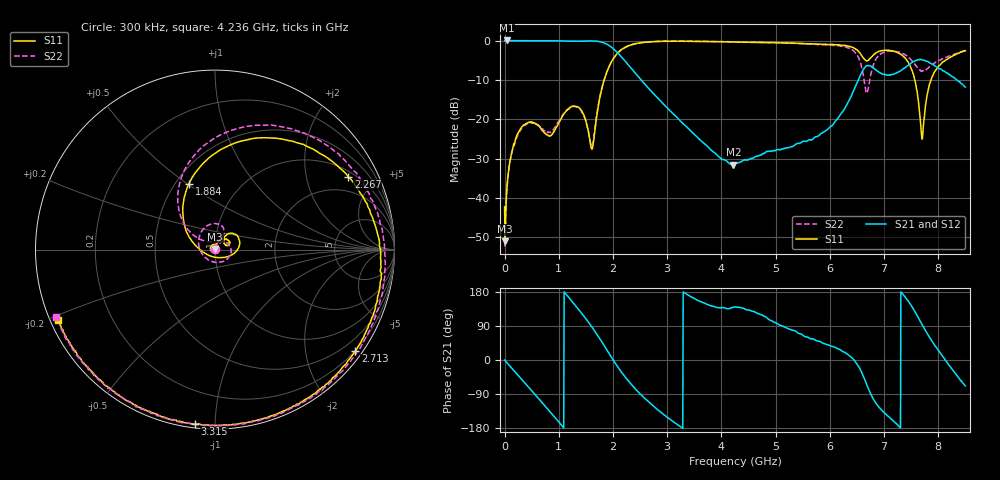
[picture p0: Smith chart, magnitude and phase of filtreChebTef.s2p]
# Hz S RI R 50
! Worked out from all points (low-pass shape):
!   1201 points, 300 kHz to 8.5 GHz, reference 50 ohm
!   highest |S21| = 0.01 dB at 42.8 MHz (marker M1); lowest = -31.5 dB at 4.222 GHz (marker M2)
!   |S21| within 3 dB of the highest: start of sweep to 2.076 GHz
!   lowest |S11| = -51.0 dB at 7.383 MHz (marker M3), VSWR 1.01, Z = 50 + j0.28 ohm
!   |S11| at or under -10 dB: start of sweep to 1.837 GHz; 7.565 GHz to 7.867 GHz (301.7 MHz wide, 3.91 % of centre)
!   |S22| runs from -52.3 to -0.1 dB; largest |S21 - S12| = 0.0083
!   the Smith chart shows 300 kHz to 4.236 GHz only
!   S11 on the Smith chart (normalised r, x): 300 kHz: 0.99, +0.01; 1.884 GHz: 0.58, +0.51; 2.267 GHz: 1.23, +3.51; 2.713 GHz: 0.18, -3.08; 3.315 GHz: 0.02, -0.89; 4.236 GHz: 0.02, -0.22
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300000  -0.0044 0.00635  0.9992 -0.00445  0.9988 -0.00493  0.000475 0.0028
7383083  0.000109 0.0028  1 -0.0209  1.001 -0.0212  0.000571 0.00237
4.27985e7  0.00157 0.0133  0.9941 -0.1234  0.9902 -0.1227  0.00154 0.0129
2.411248e8  0.0331 0.0557  0.7699 -0.631  0.772 -0.6276  0.0455 0.0414
6.377775e8  0.0776 0.0254  -0.2275 -0.9652  -0.2287 -0.9631  0.0551 -0.0604
1.048596e9  0.0642 0.0815  -0.9795 -0.1423  -0.9774 -0.1426  -0.0897 0.0573
1.416917e9  0.1284 0.00657  -0.5535 0.8135  -0.5532 0.8129  0.0486 0.1172
1.615243e9  -0.0162 -0.0385  0.064 0.9841  0.0638 0.9847  -0.0138 0.0434
1.8844e9  -0.1447 0.3682  0.8009 0.4072  0.7997 0.4114  -0.2031 0.34
2.266887e9  0.7423 0.4059  0.3072 -0.3996  0.308 -0.4008  0.599 0.5979
2.713121e9  0.7827 -0.5654  -0.1048 -0.1983  -0.1041 -0.1982  0.9077 -0.335
2.840616e9  0.6168 -0.7517  -0.1236 -0.1317  -0.123 -0.132  0.789 -0.5755
3.315183e9  -0.1111 -0.973  -0.0848 0.00342  -0.085 0.00314  0.0378 -0.9797
4.221818e9  -0.8676 -0.4091  -0.0202 0.0172  -0.0202 0.0172  -0.8803 -0.3853
4.235984e9  -0.8732 -0.3946  -0.0206 0.0174  -0.0206 0.0173  -0.886 -0.3742
4.25015e9  -0.8774 -0.382  -0.0209 0.0175  -0.0208 0.0176  -0.8895 -0.3609
5.666767e9  -0.8136 0.4036  0.0311 0.0448  0.0308 0.0452  -0.7718 0.4657
6.594651e9  -0.2537 0.5793  0.3296 -0.2309  0.3282 -0.2315  -0.0182 0.4294
7.090466e9  -0.2056 0.7252  -0.3167 -0.1826  -0.3169 -0.1827  -0.4713 0.5622
7.699612e9  0.0092 0.0552  -0.035 0.5683  -0.037 0.5645  -0.031 0.4095
8.117514e9  0.162 0.5302  0.4052 0.0207  0.4028 0.0176  0.2692 0.5398
8.5e9  0.7402 0.0749  0.0944 -0.2379  0.0939 -0.2384  0.7443 0.0294
